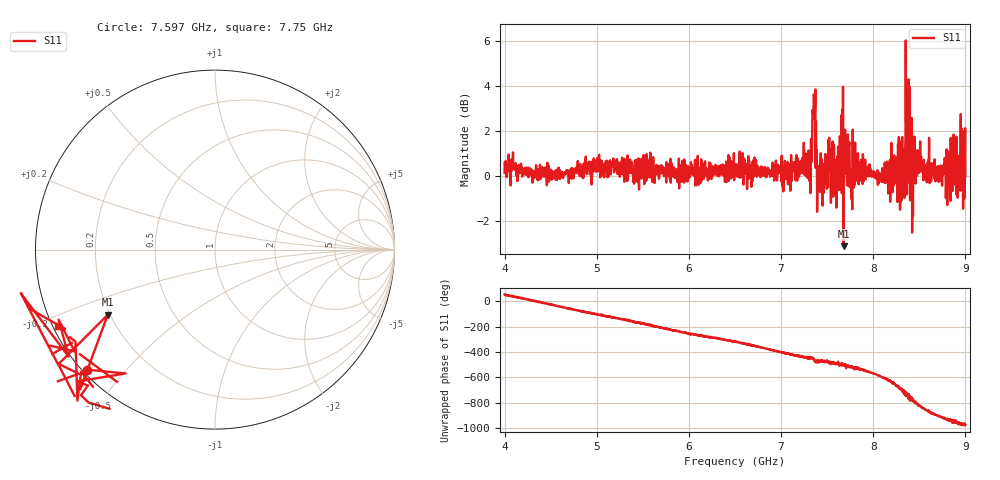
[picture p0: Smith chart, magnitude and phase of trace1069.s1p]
! Created with skrf 1.8.0 (http://scikit-rf.org).
# Hz S RI R 50.0
!freq ReS11 ImS11
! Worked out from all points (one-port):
!   1601 points, 4 GHz to 9 GHz, reference 50 ohm
!   lowest |S11| = -3.1 dB at 7.678 GHz (marker M1), VSWR 5.65, Z = 9.53 - j13.5 ohm
!   |S11| at or under -10 dB: nowhere
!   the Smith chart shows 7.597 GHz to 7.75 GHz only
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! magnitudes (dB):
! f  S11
! 4 GHz  0.2
! 4.625 GHz  0.0
! 5.25 GHz  0.0
! 5.875 GHz  0.0
! 6.5 GHz  0.1
! 7.125 GHz  0.5
! 7.294 GHz  0.4
! 7.312 GHz  0.9
! 7.347 GHz  2.8
! 7.362 GHz  3.6
! 7.4 GHz  0.1
! 7.416 GHz  -0.4
! 7.509 GHz  -0.5
! 7.606 GHz  0.3
! 7.647 GHz  1.7
! 7.678 GHz  -3.1
! 7.75 GHz  -0.2
! 8.097 GHz  0.4
! 8.259 GHz  0.8
! 8.312 GHz  1.7
! 8.334 GHz  -0.3
! 8.347 GHz  1.3
! 8.375 GHz  2.2
! 8.447 GHz  1.8
! 8.497 GHz  0.2
! 8.812 GHz  0.2
! 8.956 GHz  0.2
! 9 GHz  0.0
